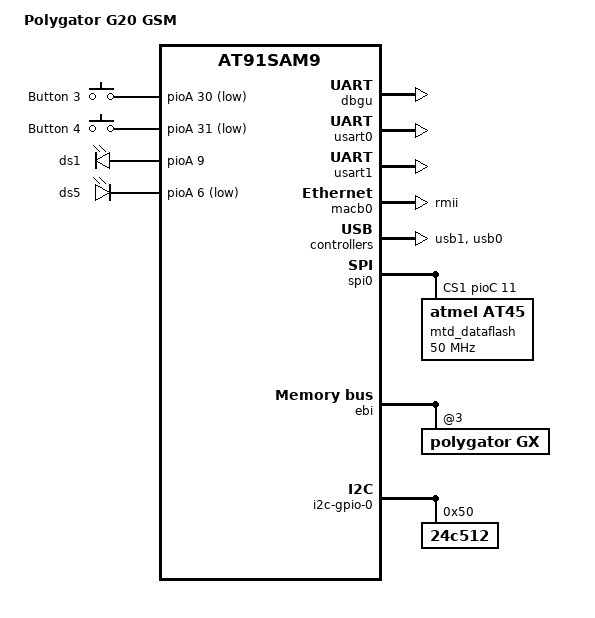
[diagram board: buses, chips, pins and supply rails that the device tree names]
/*
 * at91-pg-g20-gsm.dts - Device Tree file for Polygator G20 GSM board
 *
 * Based on DT files for at91sam9g20ek evaluation board (AT91SAM9G20 SoC)
 *
 * Copyright (C) 2018 Maksym Tarasevych <mxmtar@gmail.com>
 *
 * Licensed under GPLv2 or later.
 */
/dts-v1/;
#include "at91sam9g20.dtsi"

/ {
	model = "Polygator G20 GSM";
	compatible = "polygator,g20gsm", "atmel,at91sam9g20", "atmel,at91sam9";

    chosen {
		bootargs = "mem=128M console=ttyS0,115200 noinitrd rootdelay=10 root=/dev/sda1";
		stdout-path = "serial0:115200n8";
	};

    clocks {
		slow_xtal {
			clock-frequency = <32768>;
		};

		main_xtal {
			clock-frequency = <18432000>;
		};
	};

	ahb {
		apb {
			pinctrl@fffff400 {
				board {
					pinctrl_pck0_as_mck: pck0_as_mck {
						atmel,pins = <AT91_PIOC 1 AT91_PERIPH_B AT91_PINCTRL_NONE>;	/* PC1 periph B */
					};
					pinctrl_ebi_cs3: ebi-cs3-0 {
                        atmel,pins = <AT91_PIOC 14 AT91_PERIPH_A AT91_PINCTRL_PULL_UP>;
                    };
				};
			};

			dbgu: serial@fffff200 {
				status = "okay";
			};

			tcb0: timer@fffa0000 {
				timer@0 {
					compatible = "atmel,tcb-timer";
					reg = <0>, <1>;
				};

				timer@2 {
					compatible = "atmel,tcb-timer";
					reg = <2>;
				};
			};

			usart0: serial@fffb0000 {
				pinctrl-0 =
					<&pinctrl_usart0
					 &pinctrl_usart0_rts
					 &pinctrl_usart0_cts
					 &pinctrl_usart0_dtr_dsr
					 &pinctrl_usart0_dcd
					 &pinctrl_usart0_ri>;
				status = "okay";
			};

			usart1: serial@fffb4000 {
				status = "okay";
			};

			macb0: ethernet@fffc4000 {
				phy-mode = "rmii";
				status = "okay";
			};

			usb1: gadget@fffa4000 {
				atmel,vbus-gpio = <&pioC 5 GPIO_ACTIVE_HIGH>;
				status = "okay";
			};

			spi0: spi@fffc8000 {
				cs-gpios = <0>, <&pioC 11 0>, <0>, <0>;
				mtd_dataflash@0 {
					compatible = "atmel,at45", "atmel,dataflash";
					spi-max-frequency = <50000000>;
					reg = <1>;
				};
			};

			shdwc@fffffd10 {
				atmel,wakeup-counter = <10>;
				atmel,wakeup-rtt-timer;
			};

			rtc@fffffd20 {
				atmel,rtt-rtc-time-reg = <&gpbr 0x0>;
				status = "okay";
			};

			watchdog@fffffd40 {
				status = "okay";
			};

			gpbr: syscon@fffffd50 {
				status = "okay";
			};
		};

        ebi: ebi@10000000 {
            status = "okay";

            pinctrl-names = "default";

            gx {
                compatible = "polygator,gx";
                pinctrl-0 = <&pinctrl_ebi_cs3>;
                pinctrl-names = "default";
                reg = <0x3 0x0 0x10000>;
                atmel,smc-bus-width = <16>;
                atmel,smc-tdf-ns = <16>;
                atmel,smc-byte-access-type = "select"; /* write */
                atmel,smc-read-mode = "nrd";
                atmel,smc-write-mode = "nwe";
                atmel,smc-exnw-mode = "disabled";
                atmel,smc-page-mode = <4>;
                atmel,smc-ncs-rd-setup-ns = <8>;
                atmel,smc-ncs-wr-setup-ns = <8>;
                atmel,smc-nrd-setup-ns = <24>;
                atmel,smc-nwe-setup-ns = <24>;
                atmel,smc-ncs-rd-pulse-ns = <120>;
                atmel,smc-ncs-wr-pulse-ns = <120>;
                atmel,smc-nrd-pulse-ns = <96>;
                atmel,smc-nwe-pulse-ns = <96>;
                atmel,smc-nrd-cycle-ns = <160>;
                atmel,smc-nwe-cycle-ns = <160>;
                status = "okay";
            };
        };

		usb0: ohci@500000 {
			num-ports = <2>;
			status = "okay";
		};
	};

	i2c-gpio-0 {
		status = "okay";

		24c512@50 {
			compatible = "24c512";
			reg = <0x50>;
		};
	};

	gpio_keys {
		compatible = "gpio-keys";

		btn3 {
			label = "Button 3";
			gpios = <&pioA 30 GPIO_ACTIVE_LOW>;
			linux,code = <0x103>;
			wakeup-source;
		};

		btn4 {
			label = "Button 4";
			gpios = <&pioA 31 GPIO_ACTIVE_LOW>;
			linux,code = <0x104>;
			wakeup-source;
		};
	};

	leds {
		compatible = "gpio-leds";

		ds1 {
			label = "ds1";
			gpios = <&pioA 9 GPIO_ACTIVE_HIGH>;
			linux,default-trigger = "heartbeat";
		};

		ds5 {
			label = "ds5";
			gpios = <&pioA 6 GPIO_ACTIVE_LOW>;
		};
	};
};
